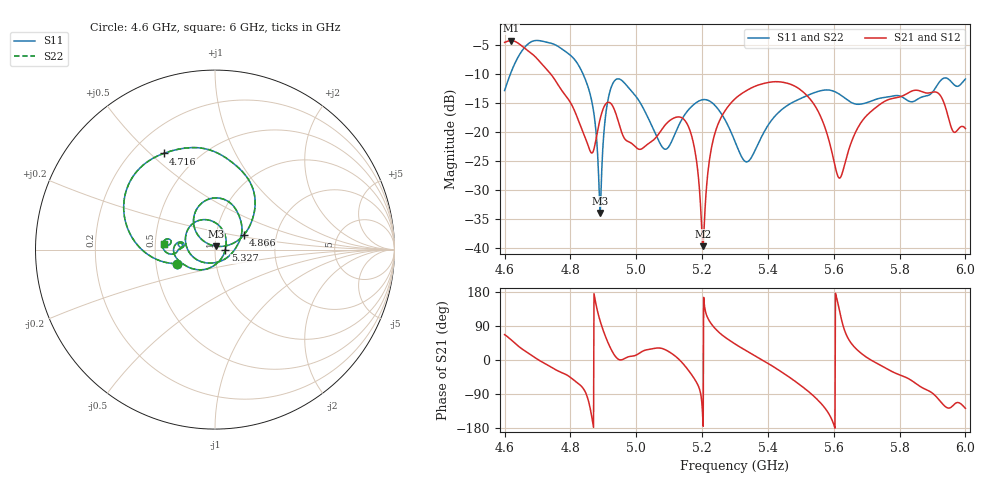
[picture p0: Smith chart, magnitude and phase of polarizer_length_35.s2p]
! TOUCHSTONE file generated by CST MICROWAVE STUDIO
! Date and time: Sun Dec  1 17:16:54 2024
! Project name: test_tuning.cst
! Parameters = {airCoaxOuterDiameter=3; chamferAngle=45; chamferWidth=24; connectorLength=10; drillingHoleDiameter=4.1; feedLength=60; flareDiameter=130; flareLength=70; gratingDistance=0; gratingGap=1.90274; outletLength=30; polarizerLength=132; probe1Diameter=1.3; probe1Distance=14; probe1Length=1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
! Header version: 2024
! Port assignment regex: !\s*Touchstone port\s*([0-9]+)\s*=\s*(CST MWS port|CST DES external port|CST DES block port)\s*(.+)\s* \(\"(.*)\"\)(\s*mode\s*([0-9]+))?.*
! Touchstone port assignment:
! Touchstone port 1 = CST MWS port 1 ("Input1")
! Touchstone port 2 = CST MWS port 2 ("Input2")
# GHz S MA R 50
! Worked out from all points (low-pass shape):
!   1001 points, 4.6 GHz to 6 GHz, reference 50 ohm
!   highest |S21| = -4.21 dB at 4.62 GHz (marker M1); lowest = -39.7 dB at 5.202 GHz (marker M2)
!   |S21| within 3 dB of the highest: start of sweep to 4.697 GHz
!   lowest |S11| = -34.0 dB at 4.89 GHz (marker M3), VSWR 1.04, Z = 50.5 + j1.94 ohm
!   |S11| at or under -10 dB: start of sweep to 4.617385 GHz; 4.838 GHz to end of sweep
!   |S22| runs from -34.0 to -4.2 dB; largest |S21 - S12| = 4.3e-07
!   S11 on the Smith chart (normalised r, x): 4.6 GHz: 0.64, -0.11; 4.716 GHz: 0.32, +0.55; 4.866 GHz: 1.36, +0.22; 5.327 GHz: 1.12, -0.01; 6 GHz: 0.55, +0.04
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4.6  0.2282 -159.7  0.5944 67.0  0.5944 67.0  0.2282 -159.7
4.6196  0.3283 -170.3  0.6161 53.4  0.6161 53.4  0.3283 -170.3
4.6686  0.5678 153.6  0.5106 20.1  0.5106 20.1  0.5678 153.6
4.7162  0.6075 118.2  0.378 -6.4  0.378 -6.4  0.6075 118.2
4.8338  0.3375 48.5  0.1075 -69.7  0.1075 -69.7  0.3375 48.5
4.866  0.1777 26.6  0.06598 -156.0  0.06598 -156.0  0.1777 26.6
4.8898  0.01997 74.1  0.1282 104.2  0.1282 104.2  0.01997 74.1
4.9108  0.1678 133.2  0.179 52.7  0.179 52.7  0.1678 133.2
4.9374  0.2832 97.0  0.1459 8.6  0.1459 8.6  0.2832 97.0
5.0046  0.1931 39.0  0.07172 15.3  0.07172 15.3  0.1931 39.0
5.0676  0.08478 -26.5  0.0958 31.8  0.0958 31.8  0.08478 -26.5
5.1558  0.1522 179.9  0.1158 -24.2  0.1158 -24.2  0.1522 179.9
5.181  0.1785 156.8  0.06181 -55.8  0.06181 -55.8  0.1785 156.8
5.202  0.1903 137.7  0.01033 -151.0  0.01033 -151.0  0.1903 137.7
5.2356  0.1737 106.3  0.08999 87.0  0.08999 87.0  0.1737 106.3
5.3  0.08277 42.3  0.1936 42.4  0.1936 42.4  0.08277 42.3
5.3266  0.0572 -3.1  0.2206 28.4  0.2206 28.4  0.0572 -3.1
5.5338  0.2149 -164.9  0.1839 -91.0  0.1839 -91.0  0.2149 -164.9
5.6178  0.2117 169.4  0.04 129.0  0.04 129.0  0.2117 169.4
5.7676  0.2015 174.3  0.1912 -26.2  0.1912 -26.2  0.2015 174.3
5.9118  0.2474 -174.2  0.2209 -97.1  0.2209 -97.1  0.2474 -174.2
6  0.2872 174.2  0.1072 -127.6  0.1072 -127.6  0.2872 174.2
